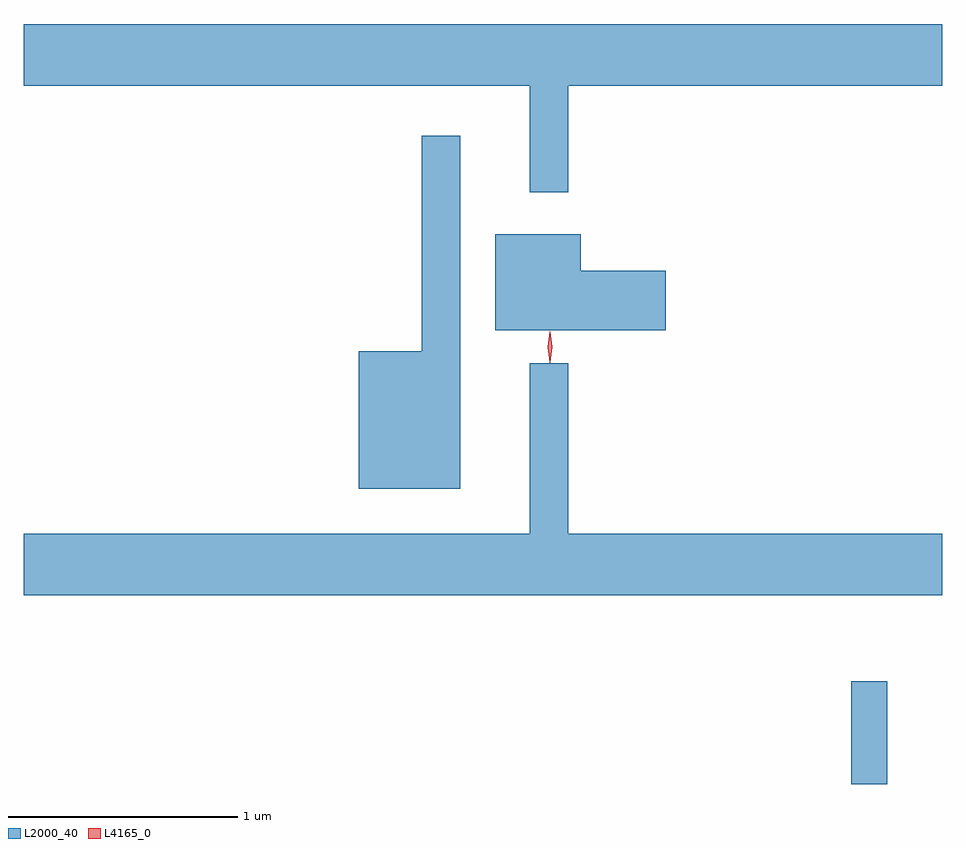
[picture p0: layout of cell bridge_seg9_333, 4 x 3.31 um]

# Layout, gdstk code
import gdstk
lib = gdstk.Library(unit=1e-6, precision=1e-09)
def R(c, l, rs):  # rectangles x0, y0, x1, y1
    for r in rs: c.add(gdstk.rectangle(r[:2], r[2:], *l))
def P(c, l, *ps):  # polygons
    for p in ps: c.add(gdstk.Polygon(p, *l))
L2000_40 = (2000, 40)
L4165_0 = (4165, 0)

bridge_seg9_333 = lib.new_cell('bridge_seg9_333')
R(bridge_seg9_333, L2000_40, [(738.741,2050.935,738.899,2051.383)])
P(bridge_seg9_333, L2000_40, [(735.138,2053.976),(737.341,2053.976),(737.341,2053.512),(737.509,2053.512),(737.509,2053.976),(739.138,2053.976),(739.138,2054.244),(735.138,2054.244)],
  [(737.039,2053.758),(736.871,2053.758),(736.871,2052.819),(736.596,2052.819),(736.596,2052.221),(737.039,2052.221)],
  [(737.934,2053.169),(737.564,2053.169),(737.564,2053.329),(737.191,2053.329),(737.191,2052.911),(737.934,2052.911)],
  [(739.138,2052.024),(737.509,2052.024),(737.509,2052.768),(737.341,2052.768),(737.341,2052.024),(735.138,2052.024),(735.138,2051.756),(739.138,2051.756)])
P(bridge_seg9_333, L4165_0, [(737.429,2052.77),(737.429,2052.77),(737.419,2052.838),(737.429,2052.905),(737.429,2052.906),(737.43,2052.905),(737.439,2052.838),(737.43,2052.77)],
  [(737.43,2052.773),(737.429,2052.774),(737.42,2052.836),(737.429,2052.899),(737.429,2052.9),(737.43,2052.899),(737.44,2052.836),(737.43,2052.774)])

lib.write_gds('bridge_seg9_333.gds')
